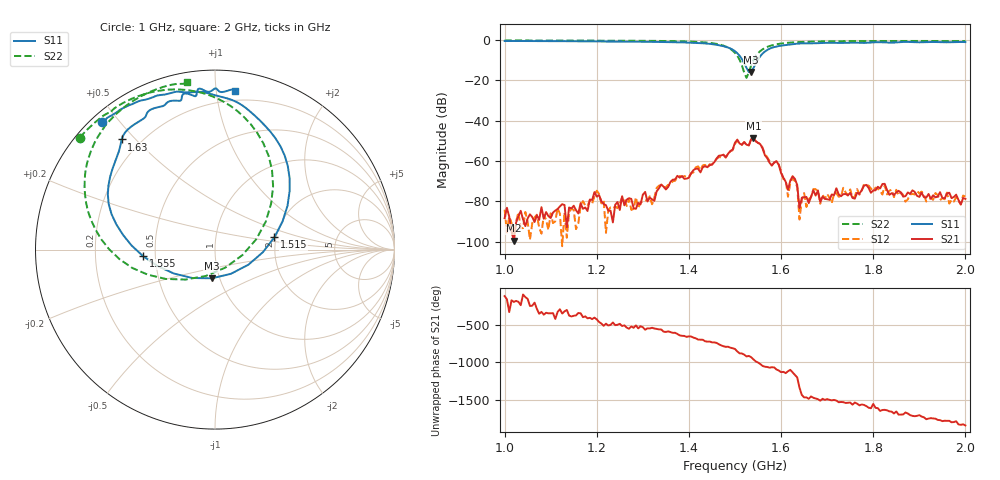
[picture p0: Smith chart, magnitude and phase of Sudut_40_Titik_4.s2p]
# Hz S RI R 50
! CMT, C1220, 16058040, 17.2.0/1
! Date: 14/08/2018 12:29:00
! Data: Format (Calibration Info)
! Freq  S11: Re/Im (F2)  S21: Re/Im (F2)  S12: Re/Im (F2)  S22: Re/Im (F2)
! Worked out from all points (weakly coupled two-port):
!   201 points, 1 GHz to 2 GHz, reference 50 ohm
!   highest |S21| = -48.74 dB at 1.54 GHz (marker M1); lowest = -99.5 dB at 1.02 GHz (marker M2)
!   lowest |S11| = -15.9 dB at 1.535 GHz (marker M3), VSWR 1.38, Z = 45.9 - j15.1 ohm
!   |S11| at or under -10 dB: 1.516 GHz to 1.549 GHz (32.44 MHz wide, 2.12 % of centre)
!   |S22| runs from -18.7 to -0.2 dB; largest |S21 - S12| = 0.0002
!   S11 on the Smith chart (normalised r, x): 1 GHz: 0.03, +0.45; 1.515 GHz: 1.96, +0.30; 1.555 GHz: 0.43, -0.04; 1.63 GHz: 0.13, +0.46; 2 GHz: 0.13, +1.13
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1e9  -0.6272 0.7091  -1.69e-05 -3.43e-05  -1.09e-05 -6.13e-05  -0.7527 0.6244
1.02e9  -0.608 0.7255  -1.04e-05 2.48e-06  -8.58e-06 6.92e-06  -0.7391 0.6393
1.17e9  -0.4514 0.8152  5.15e-05 -4e-05  1.34e-05 -0.000101  -0.6165 0.7496
1.2e9  -0.4109 0.8309  5.01e-05 -0.000121  -1.02e-05 -0.000184  -0.583 0.7628
1.32e9  -0.207 0.8802  -0.000112 -7.95e-08  -8.01e-05 2.76e-05  -0.4296 0.8542
1.335e9  -0.1862 0.8774  -0.000198 7.62e-05  -0.000222 0.000103  -0.4007 0.8639
1.45e9  0.1965 0.7686  0.000792 -0.000211  0.000789 -0.0002  0.0208 0.838
1.5e9  0.4159 0.3274  -0.000669 -0.00278  -0.000675 -0.00261  0.3238 0.3535
1.515e9  0.3307 0.0682  -0.00244 -0.000703  -0.00243 -0.000723  0.2294 0.0571
1.525e9  0.1862 -0.0841  -0.00234 0.00101  -0.00228 0.000989  0.0572 -0.1006
1.535e9  -0.0179 -0.16  -0.00291 0.0019  -0.00288 0.00194  -0.1648 -0.167
1.54e9  -0.1263 -0.1582  -0.00167 0.00325  -0.00164 0.0032  -0.2748 -0.1634
1.555e9  -0.3997 -0.0375  0.0015 0.00213  0.00145 0.00228  -0.5332 -0.0522
1.595e9  -0.5847 0.4045  0.000683 -0.000422  0.000697 -0.000436  -0.7265 0.3464
1.615e9  -0.5357 0.5466  0.000144 -0.000129  6.69e-05 -0.000112  -0.7145 0.4743
1.63e9  -0.5201 0.6139  -1.28e-05 -0.000361  3.97e-05 -0.000314  -0.6926 0.5447
1.64e9  -0.5016 0.652  -9.05e-06 6.72e-05  7.71e-06 3.47e-05  -0.6763 0.584
1.67e9  -0.4003 0.7282  0.000151 -0.000112  0.00015 -0.000135  -0.624 0.6724
1.685e9  -0.3829 0.7507  2.34e-05 -9.47e-05  4.3e-05 -7.65e-05  -0.5995 0.7044
1.785e9  -0.1875 0.8347  -0.000216 -0.000137  -0.000215 -0.000129  -0.4458 0.8345
1.835e9  -0.1128 0.8546  -0.000114 9.11e-05  -0.000139 0.000121  -0.3773 0.872
2e9  0.1128 0.8841  7.91e-05 -8.44e-05  9.57e-05 -9.26e-05  -0.1539 0.9319
